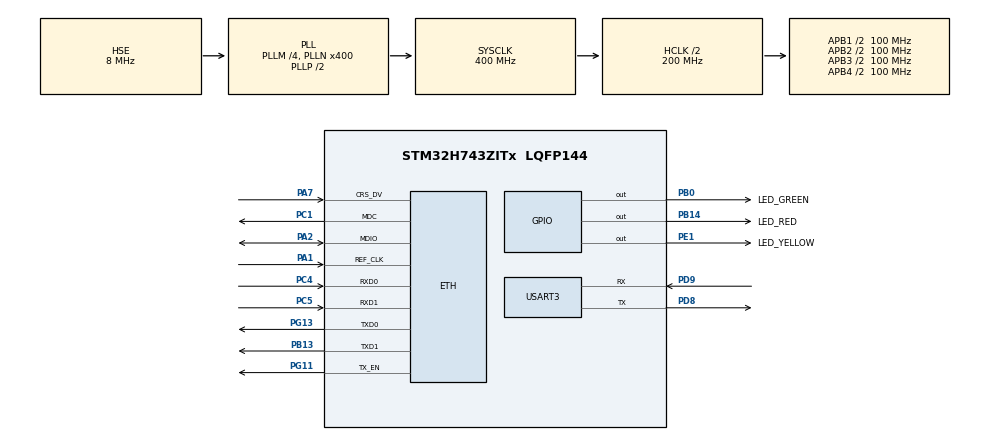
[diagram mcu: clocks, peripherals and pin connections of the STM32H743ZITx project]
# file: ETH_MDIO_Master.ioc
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CORTEX_M7.AccessPermission_S-Cortex_Memory_Protection_Unit_Region1_Settings_S=MPU_REGION_FULL_ACCESS
CORTEX_M7.AccessPermission_S-Cortex_Memory_Protection_Unit_Region2_Settings_S=MPU_REGION_FULL_ACCESS
CORTEX_M7.BaseAddress_S-Cortex_Memory_Protection_Unit_Region1_Settings_S=0x30000000
CORTEX_M7.BaseAddress_S-Cortex_Memory_Protection_Unit_Region2_Settings_S=0x30004000
CORTEX_M7.CPU_DCache=Enabled
CORTEX_M7.CPU_ICache=Enabled
CORTEX_M7.DisableExec_S-Cortex_Memory_Protection_Unit_Region1_Settings_S=MPU_INSTRUCTION_ACCESS_ENABLE
CORTEX_M7.Enable-Cortex_Memory_Protection_Unit_Region0_Settings=MPU_REGION_ENABLE
CORTEX_M7.Enable_S-Cortex_Memory_Protection_Unit_Region1_Settings_S=MPU_REGION_ENABLE
CORTEX_M7.Enable_S-Cortex_Memory_Protection_Unit_Region2_Settings_S=MPU_REGION_ENABLE
CORTEX_M7.IsBufferable_S-Cortex_Memory_Protection_Unit_Region1_Settings_S=MPU_ACCESS_BUFFERABLE
CORTEX_M7.IsShareable_S-Cortex_Memory_Protection_Unit_Region1_Settings_S=MPU_ACCESS_NOT_SHAREABLE
CORTEX_M7.IsShareable_S-Cortex_Memory_Protection_Unit_Region2_Settings_S=MPU_ACCESS_SHAREABLE
CORTEX_M7.MPU_Control=MPU_PRIVILEGED_DEFAULT
CORTEX_M7.Size_S-Cortex_Memory_Protection_Unit_Region1_Settings_S=MPU_REGION_SIZE_1KB
CORTEX_M7.Size_S-Cortex_Memory_Protection_Unit_Region2_Settings_S=MPU_REGION_SIZE_16KB
CORTEX_M7.TypeExtField_S-Cortex_Memory_Protection_Unit_Region1_Settings_S=MPU_TEX_LEVEL0
CORTEX_M7.TypeExtField_S-Cortex_Memory_Protection_Unit_Region2_Settings_S=MPU_TEX_LEVEL1
CORTEX_M7.default_mode_Activation=1
ETH.MediaInterface=HAL_ETH_RMII_MODE
ETH.RxBuffLen=1000
Mcu.Family=STM32H7
Mcu.Name=STM32H743ZITx
Mcu.Package=LQFP144
NVIC.ETH_IRQn=true\:5\:0\:true\:false\:true\:true\:true\:true
NVIC.HASH_RNG_IRQn=true\:5\:0\:true\:false\:true\:true\:true\:true
NVIC.PriorityGroup=NVIC_PRIORITYGROUP_4
NVIC.TIM6_DAC_IRQn=true\:15\:0\:false\:false\:true\:false\:true\:true
NVIC.TimeBase=TIM6_DAC_IRQn
NVIC.TimeBaseIP=TIM6
NVIC.USART3_IRQn=true\:5\:0\:true\:false\:true\:true\:true\:true
PA1.GPIO_Speed_Default_HIGH=GPIO_SPEED_FREQ_VERY_HIGH
PA1.Mode=RMII
PA1.Signal=ETH_REF_CLK
PA2.GPIO_Speed_Default_HIGH=GPIO_SPEED_FREQ_VERY_HIGH
PA2.Mode=RMII
PA2.Signal=ETH_MDIO
PA7.GPIO_Speed_Default_HIGH=GPIO_SPEED_FREQ_VERY_HIGH
PA7.Mode=RMII
PA7.Signal=ETH_CRS_DV
PB0.GPIO_Label=LED_GREEN
PB0.Signal=GPIO_Output
PB13.GPIO_Speed_Default_HIGH=GPIO_SPEED_FREQ_VERY_HIGH
PB13.Mode=RMII
PB13.Signal=ETH_TXD1
PB14.GPIO_Label=LED_RED
PB14.Signal=GPIO_Output
PC1.GPIO_Speed_Default_HIGH=GPIO_SPEED_FREQ_VERY_HIGH
PC1.Mode=RMII
PC1.Signal=ETH_MDC
PC14-OSC32_IN\ (OSC32_IN).Mode=LSE-External-Oscillator
PC14-OSC32_IN\ (OSC32_IN).Signal=RCC_OSC32_IN
PC15-OSC32_OUT\ (OSC32_OUT).Mode=LSE-External-Oscillator
PC15-OSC32_OUT\ (OSC32_OUT).Signal=RCC_OSC32_OUT
PC4.GPIO_Speed_Default_HIGH=GPIO_SPEED_FREQ_VERY_HIGH
PC4.Mode=RMII
PC4.Signal=ETH_RXD0
PC5.GPIO_Speed_Default_HIGH=GPIO_SPEED_FREQ_VERY_HIGH
PC5.Mode=RMII
PC5.Signal=ETH_RXD1
PD8.GPIO_PuPd=GPIO_PULLUP
PD8.GPIO_Speed=GPIO_SPEED_FREQ_MEDIUM
PD8.Mode=Asynchronous
PD8.Signal=USART3_TX
PD9.GPIO_Speed=GPIO_SPEED_FREQ_MEDIUM
PD9.Mode=Asynchronous
PD9.Signal=USART3_RX
PE1.GPIO_Label=LED_YELLOW
PE1.Signal=GPIO_Output
PG11.GPIO_Speed_Default_HIGH=GPIO_SPEED_FREQ_VERY_HIGH
PG11.Mode=RMII
PG11.Signal=ETH_TX_EN
PG13.GPIO_Speed_Default_HIGH=GPIO_SPEED_FREQ_VERY_HIGH
PG13.Mode=RMII
PG13.Signal=ETH_TXD0
PH0-OSC_IN\ (PH0).Mode=HSE-External-Clock-Source
PH0-OSC_IN\ (PH0).Signal=RCC_OSC_IN
ProjectManager.HeapSize=0x400
ProjectManager.StackSize=0x800
ProjectManager.TargetToolchain=STM32CubeIDE
RCC.ADCFreq_Value=16125000
RCC.APB1Freq_Value=100000000
RCC.APB2Freq_Value=100000000
RCC.APB3Freq_Value=100000000
RCC.APB4Freq_Value=100000000
RCC.CortexFreq_Value=400000000
RCC.D1PPRE=RCC_APB3_DIV2
RCC.D2PPRE1=RCC_APB1_DIV2
RCC.D2PPRE2=RCC_APB2_DIV2
RCC.D3PPRE=RCC_APB4_DIV2
RCC.DIVM1=4
RCC.DIVM3=8
RCC.DIVN1=400
RCC.DIVN3=192
RCC.DIVQ3=4
RCC.HCLKFreq_Value=200000000
RCC.HPRE=RCC_HCLK_DIV2
RCC.HSE_VALUE=8000000
RCC.PLLSourceVirtual=RCC_PLLSOURCE_HSE
RCC.PWR_Regulator_Voltage_Scale=PWR_REGULATOR_VOLTAGE_SCALE1
RCC.SYSCLKFreq_VALUE=400000000
RCC.SYSCLKSource=RCC_SYSCLKSOURCE_PLLCLK
RCC.USART234578CLockSelection=RCC_USART234578CLKSOURCE_PLL3
RCC.USBFreq_Value=400000000
USART3.DMADisableonRxErrorParam=ADVFEATURE_DMA_ENABLEONRXERROR
USART3.OverrunDisableParam=ADVFEATURE_OVERRUN_ENABLE
USART3.RXFIFOThreshold=RXFIFO_THRESHOLD_FULL
USART3.TXFIFOThreshold=TXFIFO_THRESHOLD_EMPTY
USART3.VirtualMode-Asynchronous=VM_ASYNC
VP_MEMORYMAP_VS_MEMORYMAP.Mode=CurAppReg
VP_RNG_VS_RNG.Mode=RNG_Activate
VP_SYS_VS_tim6.Mode=TIM6
board=custom

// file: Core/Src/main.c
/* USER CODE BEGIN Header */
/**
  ******************************************************************************
  * @file           : main.c
  * @brief          : Main program body
  ******************************************************************************
  * @attention
  *
  * Copyright (c) 2026 STMicroelectronics.
  * All rights reserved.
  *
  * This software is licensed under terms that can be found in the LICENSE file
  * in the root directory of this software component.
  * If no LICENSE file comes with this software, it is provided AS-IS.
  *
  ******************************************************************************
  */
/* USER CODE END Header */
#include "main.h"
#include "string.h"

/* USER CODE BEGIN Includes */
#include "logging_levels.h"
#define LOG_LEVEL LOG_DEBUG
#include "logging.h"
#include "FreeRTOS.h"
#include "task.h"

#include "cli.h"
/* USER CODE END Includes */

#if defined ( __ICCARM__ ) /*!< IAR Compiler */
#pragma location=0x30000000
ETH_DMADescTypeDef  DMARxDscrTab[ETH_RX_DESC_CNT]; /* Ethernet Rx DMA Descriptors */
#pragma location=0x30000080
ETH_DMADescTypeDef  DMATxDscrTab[ETH_TX_DESC_CNT]; /* Ethernet Tx DMA Descriptors */

#elif defined ( __CC_ARM )  /* MDK ARM Compiler */

__attribute__((at(0x30000000))) ETH_DMADescTypeDef  DMARxDscrTab[ETH_RX_DESC_CNT]; /* Ethernet Rx DMA Descriptors */
__attribute__((at(0x30000080))) ETH_DMADescTypeDef  DMATxDscrTab[ETH_TX_DESC_CNT]; /* Ethernet Tx DMA Descriptors */

#elif defined ( __GNUC__ ) /* GNU Compiler */

ETH_DMADescTypeDef DMARxDscrTab[ETH_RX_DESC_CNT] __attribute__((section(".RxDescripSection"))); /* Ethernet Rx DMA Descriptors */
ETH_DMADescTypeDef DMATxDscrTab[ETH_TX_DESC_CNT] __attribute__((section(".TxDescripSection")));   /* Ethernet Tx DMA Descriptors */
#endif

ETH_TxPacketConfig TxConfig;

ETH_HandleTypeDef heth;

RNG_HandleTypeDef hrng;

UART_HandleTypeDef huart3;

void SystemClock_Config(void);
static void MPU_Config(void);
static void MX_GPIO_Init(void);

/* USER CODE BEGIN 0 */
static void vHeartbeatTask( void * pvParameters )
{
    ( void ) pvParameters;

    while(1)
    {
    	vTaskDelay( pdMS_TO_TICKS( 1000 ) );
    	HAL_GPIO_TogglePin(LED_GREEN_GPIO_Port, LED_GREEN_Pin);
    }
}

void vInitTask( void * pvArgs )
{
    BaseType_t xResult;

    ( void ) pvArgs;

    xResult = xTaskCreate( Task_CLI, "cli", 2048, NULL, 10, NULL );
    configASSERT( xResult == pdTRUE );

    xResult = xTaskCreate( vHeartbeatTask, "Heartbeat", 128, NULL, tskIDLE_PRIORITY, NULL );
    configASSERT( xResult == pdTRUE );

    while( 1 )
    {
        vTaskSuspend( NULL );
    }
}
/* USER CODE END 0 */

int main(void)
{

  /* MPU Configuration--------------------------------------------------------*/
  MPU_Config();

  /* Enable the CPU Cache */

  /* Enable I-Cache---------------------------------------------------------*/
  SCB_EnableICache();

  /* Enable D-Cache---------------------------------------------------------*/
  SCB_EnableDCache();

  /* MCU Configuration--------------------------------------------------------*/

  /* Reset of all peripherals, Initializes the Flash interface and the Systick. */
  HAL_Init();

  /* Configure the system clock */
  SystemClock_Config();

  /* Initialize all configured peripherals */
  MX_GPIO_Init();
  MX_USART3_UART_Init();
  MX_ETH_Init();
  MX_RNG_Init();
  /* USER CODE BEGIN 2 */

  /* Initialize uart for logging before cli is up and running */
  vInitLoggingEarly();
  vLoggingInit();

  LogInfo( "HW Init Complete" );

  xTaskCreate( vInitTask, "Init", 1024, NULL, 8, NULL );
  /* USER CODE END 2 */

  /* Infinite loop */
  /* USER CODE BEGIN WHILE */

  /* Start scheduler */
  vTaskStartScheduler();

  LogError( "Kernel start returned." );

  /* This loop should be inaccessible.*/
  while (1)
  {
    /* USER CODE END WHILE */

  }
}

void SystemClock_Config(void)
{
  RCC_OscInitTypeDef RCC_OscInitStruct = {0};
  RCC_ClkInitTypeDef RCC_ClkInitStruct = {0};

  /** Supply configuration update enable
  */
  HAL_PWREx_ConfigSupply(PWR_LDO_SUPPLY);

  /** Configure the main internal regulator output voltage
  */
  __HAL_PWR_VOLTAGESCALING_CONFIG(PWR_REGULATOR_VOLTAGE_SCALE1);

  while(!__HAL_PWR_GET_FLAG(PWR_FLAG_VOSRDY)) {}

  /** Initializes the RCC Oscillators according to the specified parameters
  * in the RCC_OscInitTypeDef structure.
  */
  RCC_OscInitStruct.OscillatorType = RCC_OSCILLATORTYPE_HSI48|RCC_OSCILLATORTYPE_HSE;
  RCC_OscInitStruct.HSEState = RCC_HSE_BYPASS;
  RCC_OscInitStruct.HSI48State = RCC_HSI48_ON;
  RCC_OscInitStruct.PLL.PLLState = RCC_PLL_ON;
  RCC_OscInitStruct.PLL.PLLSource = RCC_PLLSOURCE_HSE;
  RCC_OscInitStruct.PLL.PLLM = 4;
  RCC_OscInitStruct.PLL.PLLN = 400;
  RCC_OscInitStruct.PLL.PLLP = 2;
  RCC_OscInitStruct.PLL.PLLQ = 2;
  RCC_OscInitStruct.PLL.PLLR = 2;
  RCC_OscInitStruct.PLL.PLLRGE = RCC_PLL1VCIRANGE_1;
  RCC_OscInitStruct.PLL.PLLVCOSEL = RCC_PLL1VCOWIDE;
  RCC_OscInitStruct.PLL.PLLFRACN = 0;
  if (HAL_RCC_OscConfig(&RCC_OscInitStruct) != HAL_OK)
  {
    Error_Handler();
  }

  /** Initializes the CPU, AHB and APB buses clocks
  */
  RCC_ClkInitStruct.ClockType = RCC_CLOCKTYPE_HCLK|RCC_CLOCKTYPE_SYSCLK
                              |RCC_CLOCKTYPE_PCLK1|RCC_CLOCKTYPE_PCLK2
                              |RCC_CLOCKTYPE_D3PCLK1|RCC_CLOCKTYPE_D1PCLK1;
  RCC_ClkInitStruct.SYSCLKSource = RCC_SYSCLKSOURCE_PLLCLK;
  RCC_ClkInitStruct.SYSCLKDivider = RCC_SYSCLK_DIV1;
  RCC_ClkInitStruct.AHBCLKDivider = RCC_HCLK_DIV2;
  RCC_ClkInitStruct.APB3CLKDivider = RCC_APB3_DIV2;
  RCC_ClkInitStruct.APB1CLKDivider = RCC_APB1_DIV2;
  RCC_ClkInitStruct.APB2CLKDivider = RCC_APB2_DIV2;
  RCC_ClkInitStruct.APB4CLKDivider = RCC_APB4_DIV2;

  if (HAL_RCC_ClockConfig(&RCC_ClkInitStruct, FLASH_LATENCY_2) != HAL_OK)
  {
    Error_Handler();
  }
}

void MX_ETH_Init(void)
{

   static uint8_t MACAddr[6];

  heth.Instance = ETH;
  MACAddr[0] = 0x00;
  MACAddr[1] = 0x80;
  MACAddr[2] = 0xE1;
  MACAddr[3] = 0x00;
  MACAddr[4] = 0x00;
  MACAddr[5] = 0x00;
  heth.Init.MACAddr = &MACAddr[0];
  heth.Init.MediaInterface = HAL_ETH_RMII_MODE;
  heth.Init.TxDesc = DMATxDscrTab;
  heth.Init.RxDesc = DMARxDscrTab;
  heth.Init.RxBuffLen = 1000;

  if (HAL_ETH_Init(&heth) != HAL_OK)
  {
    Error_Handler();
  }

  memset(&TxConfig, 0 , sizeof(ETH_TxPacketConfig));
  TxConfig.Attributes = ETH_TX_PACKETS_FEATURES_CSUM | ETH_TX_PACKETS_FEATURES_CRCPAD;
  TxConfig.ChecksumCtrl = ETH_CHECKSUM_IPHDR_PAYLOAD_INSERT_PHDR_CALC;
  TxConfig.CRCPadCtrl = ETH_CRC_PAD_INSERT;
  /* USER CODE BEGIN ETH_Init 2 */

  /* Configure the MDIO Clock */
  HAL_ETH_SetMDIOClockRange(&heth);

  /* USER CODE END ETH_Init 2 */

}

void MX_RNG_Init(void)
{

  hrng.Instance = RNG;
  hrng.Init.ClockErrorDetection = RNG_CED_ENABLE;
  if (HAL_RNG_Init(&hrng) != HAL_OK)
  {
    Error_Handler();
  }

}

void MX_USART3_UART_Init(void)
{

  huart3.Instance = USART3;
  huart3.Init.BaudRate = 115200;
  huart3.Init.WordLength = UART_WORDLENGTH_8B;
  huart3.Init.StopBits = UART_STOPBITS_1;
  huart3.Init.Parity = UART_PARITY_NONE;
  huart3.Init.Mode = UART_MODE_TX_RX;
  huart3.Init.HwFlowCtl = UART_HWCONTROL_NONE;
  huart3.Init.OverSampling = UART_OVERSAMPLING_16;
  huart3.Init.OneBitSampling = UART_ONE_BIT_SAMPLE_DISABLE;
  huart3.Init.ClockPrescaler = UART_PRESCALER_DIV1;
  huart3.AdvancedInit.AdvFeatureInit = UART_ADVFEATURE_NO_INIT;
  if (HAL_UART_Init(&huart3) != HAL_OK)
  {
    Error_Handler();
  }
  if (HAL_UARTEx_SetTxFifoThreshold(&huart3, UART_TXFIFO_THRESHOLD_8_8) != HAL_OK)
  {
    Error_Handler();
  }
  if (HAL_UARTEx_SetRxFifoThreshold(&huart3, UART_RXFIFO_THRESHOLD_8_8) != HAL_OK)
  {
    Error_Handler();
  }
  if (HAL_UARTEx_DisableFifoMode(&huart3) != HAL_OK)
  {
    Error_Handler();
  }

}

static void MX_GPIO_Init(void)
{
  GPIO_InitTypeDef GPIO_InitStruct = {0};

  /* GPIO Ports Clock Enable */
  __HAL_RCC_GPIOC_CLK_ENABLE();
  __HAL_RCC_GPIOH_CLK_ENABLE();
  __HAL_RCC_GPIOA_CLK_ENABLE();
  __HAL_RCC_GPIOB_CLK_ENABLE();
  __HAL_RCC_GPIOD_CLK_ENABLE();
  __HAL_RCC_GPIOG_CLK_ENABLE();
  __HAL_RCC_GPIOE_CLK_ENABLE();

  /*Configure GPIO pin Output Level */
  HAL_GPIO_WritePin(GPIOB, LED_GREEN_Pin|LED_RED_Pin, GPIO_PIN_RESET);

  /*Configure GPIO pin Output Level */
  HAL_GPIO_WritePin(LED_YELLOW_GPIO_Port, LED_YELLOW_Pin, GPIO_PIN_RESET);

  /*Configure GPIO pins : LED_GREEN_Pin LED_RED_Pin */
  GPIO_InitStruct.Pin = LED_GREEN_Pin|LED_RED_Pin;
  GPIO_InitStruct.Mode = GPIO_MODE_OUTPUT_PP;
  GPIO_InitStruct.Pull = GPIO_NOPULL;
  GPIO_InitStruct.Speed = GPIO_SPEED_FREQ_LOW;
  HAL_GPIO_Init(GPIOB, &GPIO_InitStruct);

  /*Configure GPIO pin : LED_YELLOW_Pin */
  GPIO_InitStruct.Pin = LED_YELLOW_Pin;
  GPIO_InitStruct.Mode = GPIO_MODE_OUTPUT_PP;
  GPIO_InitStruct.Pull = GPIO_NOPULL;
  GPIO_InitStruct.Speed = GPIO_SPEED_FREQ_LOW;
  HAL_GPIO_Init(LED_YELLOW_GPIO_Port, &GPIO_InitStruct);

}

/* USER CODE BEGIN 4 */

void HAL_Delay( uint32_t ulDelayMs )
{
    if( xTaskGetSchedulerState() != taskSCHEDULER_NOT_STARTED )
    {
        vTaskDelay( pdMS_TO_TICKS( ulDelayMs ) );
    }
    else
    {
        uint32_t ulStartTick = HAL_GetTick();
        uint32_t ulTicksWaited = ulDelayMs;

        /* Add a freq to guarantee minimum wait */
        if( ulTicksWaited < HAL_MAX_DELAY )
        {
            ulTicksWaited += ( uint32_t ) ( HAL_GetTickFreq() );
        }

        while( ( HAL_GetTick() - ulStartTick ) < ulTicksWaited )
        {
            __NOP();
        }
    }
}

/*-----------------------------------------------------------*/

/* configUSE_STATIC_ALLOCATION is set to 1, so the application must provide an
 * implementation of vApplicationGetIdleTaskMemory() to provide the memory that is
 * used by the Idle task. */
void vApplicationGetIdleTaskMemory( StaticTask_t ** ppxIdleTaskTCBBuffer,
                                    StackType_t ** ppxIdleTaskStackBuffer,
                                    uint32_t * pulIdleTaskStackSize )
{
    /* If the buffers to be provided to the Idle task are declared inside this
     * function then they must be declared static - otherwise they will be allocated on
     * the stack and so not exists after this function exits. */
    static StaticTask_t xIdleTaskTCB;
    static StackType_t uxIdleTaskStack[ configMINIMAL_STACK_SIZE ];

    /* Pass out a pointer to the StaticTask_t structure in which the Idle task's
     * state will be stored. */
    *ppxIdleTaskTCBBuffer = &xIdleTaskTCB;

    /* Pass out the array that will be used as the Idle task's stack. */
    *ppxIdleTaskStackBuffer = uxIdleTaskStack;

    /* Pass out the size of the array pointed to by *ppxIdleTaskStackBuffer.
     * Note that, as the array is necessarily of type StackType_t,
     * configMINIMAL_STACK_SIZE is specified in words, not bytes. */
    *pulIdleTaskStackSize = configMINIMAL_STACK_SIZE;
}

/*-----------------------------------------------------------*/

/* configUSE_STATIC_ALLOCATION and configUSE_TIMERS are both set to 1, so the
 * application must provide an implementation of vApplicationGetTimerTaskMemory()
 * to provide the memory that is used by the Timer service task. */
void vApplicationGetTimerTaskMemory( StaticTask_t ** ppxTimerTaskTCBBuffer,
                                     StackType_t ** ppxTimerTaskStackBuffer,
                                     uint32_t * pulTimerTaskStackSize )
{
    /* If the buffers to be provided to the Timer task are declared inside this
     * function then they must be declared static - otherwise they will be allocated on
     * the stack and so not exists after this function exits. */
    static StaticTask_t xTimerTaskTCB;
    static StackType_t uxTimerTaskStack[ configTIMER_TASK_STACK_DEPTH ];

    /* Pass out a pointer to the StaticTask_t structure in which the Timer
     * task's state will be stored. */
    *ppxTimerTaskTCBBuffer = &xTimerTaskTCB;

    /* Pass out the array that will be used as the Timer task's stack. */
    *ppxTimerTaskStackBuffer = uxTimerTaskStack;

    /* Pass out the size of the array pointed to by *ppxTimerTaskStackBuffer.
     * Note that, as the array is necessarily of type StackType_t,
     * configMINIMAL_STACK_SIZE is specified in words, not bytes. */
    *pulTimerTaskStackSize = configTIMER_TASK_STACK_DEPTH;
}

/*-----------------------------------------------------------*/

void vApplicationMallocFailedHook( void )
{
    LogError( "Malloc failed" );

    while( 1 )
    {
        __NOP();
    }
}

/*-----------------------------------------------------------*/

void vApplicationStackOverflowHook( TaskHandle_t xTask,
                                    char * pcTaskName )

{
    volatile uint32_t ulSetToZeroToStepOut = 1UL;

    taskENTER_CRITICAL();

    LogSys( "Stack overflow in %s", pcTaskName ); /* WARN: The log message will not be output until ulSetToZeroToStepOut is reset by the user. */
    ( void ) xTask;

    while( ulSetToZeroToStepOut != 0 )
    {
        __NOP();
    }

    taskEXIT_CRITICAL();
}

/*-----------------------------------------------------------*/

#if configUSE_IDLE_HOOK == 1
void vApplicationIdleHook( void )
{
//    vPetWatchdog();
}
#endif /* configUSE_IDLE_HOOK == 1 */

/*-----------------------------------------------------------*/

/* USER CODE END 4 */

 /* MPU Configuration */

void MPU_Config(void)
{
  MPU_Region_InitTypeDef MPU_InitStruct = {0};

  /* Disables the MPU */
  HAL_MPU_Disable();

  /** Initializes and configures the Region and the memory to be protected
  */
  MPU_InitStruct.Enable = MPU_REGION_ENABLE;
  MPU_InitStruct.Number = MPU_REGION_NUMBER0;
  MPU_InitStruct.BaseAddress = 0x0;
  MPU_InitStruct.Size = MPU_REGION_SIZE_4GB;
  MPU_InitStruct.SubRegionDisable = 0x87;
  MPU_InitStruct.TypeExtField = MPU_TEX_LEVEL0;
  MPU_InitStruct.AccessPermission = MPU_REGION_NO_ACCESS;
  MPU_InitStruct.DisableExec = MPU_INSTRUCTION_ACCESS_DISABLE;
  MPU_InitStruct.IsShareable = MPU_ACCESS_SHAREABLE;
  MPU_InitStruct.IsCacheable = MPU_ACCESS_NOT_CACHEABLE;
  MPU_InitStruct.IsBufferable = MPU_ACCESS_NOT_BUFFERABLE;

  HAL_MPU_ConfigRegion(&MPU_InitStruct);

  /** Initializes and configures the Region and the memory to be protected
  */
  MPU_InitStruct.Number = MPU_REGION_NUMBER1;
  MPU_InitStruct.BaseAddress = 0x30000000;
  MPU_InitStruct.Size = MPU_REGION_SIZE_1KB;
  MPU_InitStruct.SubRegionDisable = 0x0;
  MPU_InitStruct.AccessPermission = MPU_REGION_FULL_ACCESS;
  MPU_InitStruct.DisableExec = MPU_INSTRUCTION_ACCESS_ENABLE;
  MPU_InitStruct.IsShareable = MPU_ACCESS_NOT_SHAREABLE;
  MPU_InitStruct.IsBufferable = MPU_ACCESS_BUFFERABLE;

  HAL_MPU_ConfigRegion(&MPU_InitStruct);

  /** Initializes and configures the Region and the memory to be protected
  */
  MPU_InitStruct.Number = MPU_REGION_NUMBER2;
  MPU_InitStruct.BaseAddress = 0x30004000;
  MPU_InitStruct.Size = MPU_REGION_SIZE_16KB;
  MPU_InitStruct.TypeExtField = MPU_TEX_LEVEL1;
  MPU_InitStruct.IsShareable = MPU_ACCESS_SHAREABLE;
  MPU_InitStruct.IsBufferable = MPU_ACCESS_NOT_BUFFERABLE;

  HAL_MPU_ConfigRegion(&MPU_InitStruct);
  /* Enables the MPU */
  HAL_MPU_Enable(MPU_PRIVILEGED_DEFAULT);

}

void HAL_TIM_PeriodElapsedCallback(TIM_HandleTypeDef *htim)
{
  if (htim->Instance == TIM6)
  {
    HAL_IncTick();
  }
}

void Error_Handler(void)
{
  __disable_irq();
  while (1)
  {
  }
}
